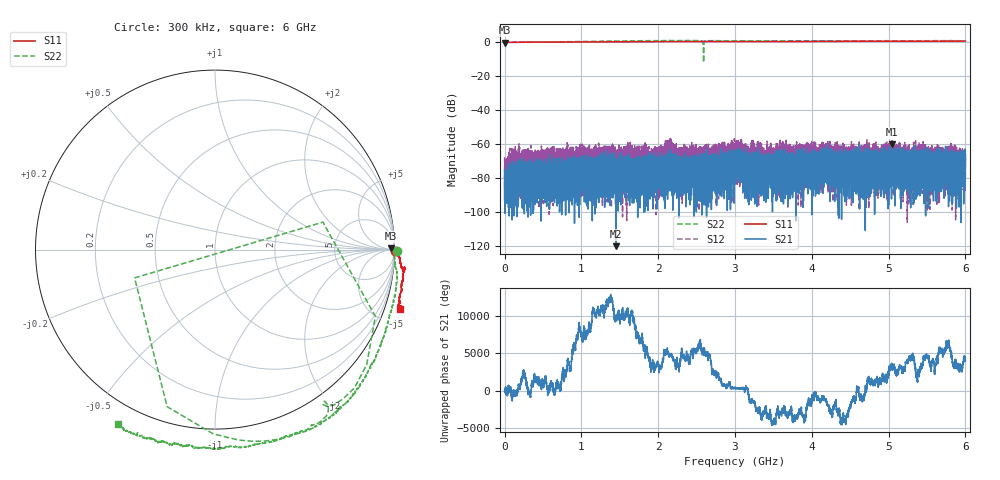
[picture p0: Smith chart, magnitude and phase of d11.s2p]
!Agilent Technologies,N5230C,SG49000117,A.08.50.07
!Agilent N5230C: A.08.50.07
!Date: Thursday, May 16, 2024 21:17:43
!Correction: S11(Full 2 Port(1,2))
!S21(Full 2 Port(1,2))
!S12(Full 2 Port(1,2))
!S22(Full 2 Port(1,2))
!S2P File: Measurements: S11, S21, S12, S22:
# Hz S  MA  R 50
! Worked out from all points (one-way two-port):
!   20001 points, 300 kHz to 6 GHz, reference 50 ohm
!   highest |S21| = -59.97 dB at 5.039 GHz (marker M1); lowest = -119.9 dB at 1.452 GHz (marker M2)
!   lowest |S11| = -0.2 dB at 600 kHz (marker M3), VSWR 112.25, Z = 4.65e+03 + j2.12e+03 ohm
!   |S11| at or under -10 dB: nowhere
!   |S22| runs from -11.8 to 1.1 dB; largest |S21 - S12| = 0.0017
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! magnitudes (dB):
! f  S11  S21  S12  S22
! 300 kHz  0.0  -75.2  -67.5  0.1
! 600 kHz  -0.2  -86.0  -79.1  -0.3
! 30.6 MHz  0.0  -79.2  -82.3  0.0
! 1 GHz  0.2  -74.5  -67.4  0.5
! 1.452 GHz  0.3  -119.9  -65.5  0.8
! 2 GHz  0.5  -73.7  -71.6  1.0
! 2.151 GHz  0.5  -67.9  -79.8  1.1
! 2.276 GHz  0.5  -73.2  -72.1  1.1
! 2.57 GHz  0.5  -86.1  -69.0  0.8
! 3 GHz  0.5  -67.7  -59.7  1.0
! 3.058 GHz  0.5  -69.8  -70.6  1.0
! 3.171 GHz  0.5  -70.6  -78.4  0.9
! 3.234 GHz  0.5  -68.3  -70.3  0.9
! 3.388 GHz  0.5  -76.6  -71.1  0.9
! 3.618 GHz  0.5  -76.0  -70.3  0.9
! 4 GHz  0.5  -78.9  -58.4  0.9
! 4.193 GHz  0.6  -72.2  -65.1  0.8
! 4.349 GHz  0.6  -86.5  -64.5  0.9
! 5 GHz  0.7  -75.5  -70.8  0.9
! 5.039 GHz  0.7  -60.0  -64.7  1.0
! 5.27 GHz  0.7  -72.7  -67.2  1.0
! 6 GHz  0.7  -72.3  -67.9  0.9
